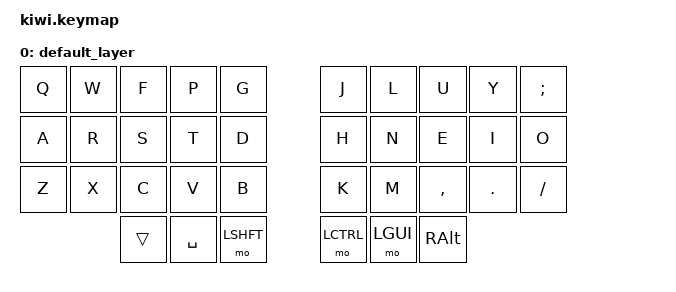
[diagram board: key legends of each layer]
/*
 * Copyright (c) 2020 The ZMK Contributors
 *
 * SPDX-License-Identifier: MIT
 */

#include <behaviors.dtsi>
#include <dt-bindings/zmk/keys.h>
#include <dt-bindings/zmk/bt.h>

/ {
        keymap {
                compatible = "zmk,keymap";			
				
                default_layer {
// -----------------------------------------------------------------------------------------
//   Q  |  W  |  F  |  P  |  G  |   |  J  |  L   |  U  |  Y  |  ; 
//   A  |  R  |  S  |  T  |  D  |   |  H  |  N   |  E  |  I  |  O 
//   Z  |  X  |  C  |  V  |  B  |   |  K  |  M   |  ,  |  .  |  / 
//                    |  | SPC | SHFT |   | CTRL | GUI | ALT |

                        bindings = <
   &kp Q &kp W &kp F &kp P &kp G   &kp J &kp L  &kp U     &kp Y   &kp SEMI   
   &kp A &kp R &kp S &kp T &kp D   &kp H &kp N  &kp E     &kp I   &kp O
   &kp Z &kp X &kp C &kp V &kp B   &kp K &kp M  &kp COMMA &kp DOT &kp FSLH
          &trans   &kp SPACE &mo LSHFT   &mo LCTRL &mo LGUI &kp RALT
                        >;
                };

        };
};
